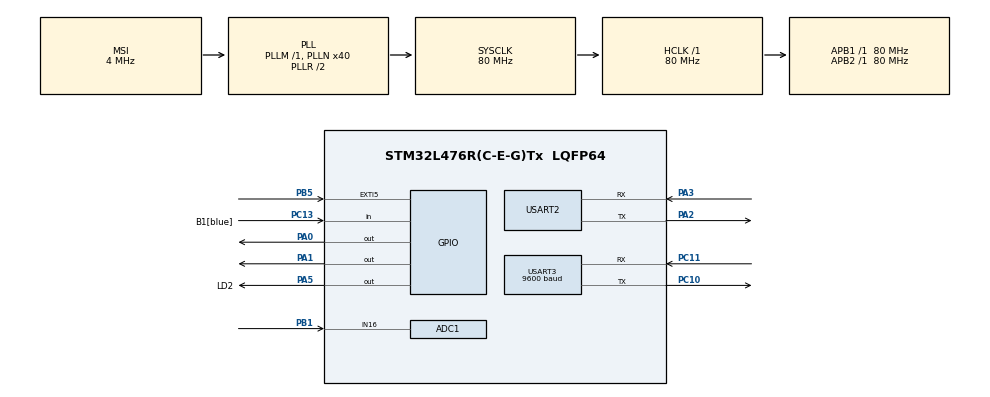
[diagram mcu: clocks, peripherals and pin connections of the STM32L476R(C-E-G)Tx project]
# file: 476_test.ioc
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ADC1.Channel-0\#ChannelRegularConversion=ADC_CHANNEL_16
ADC1.ContinuousConvMode=DISABLE
ADC1.DiscontinuousConvMode=DISABLE
ADC1.NbrOfConversion=1
ADC1.NbrOfConversionFlag=1
ADC1.OffsetNumber-0\#ChannelRegularConversion=ADC_OFFSET_NONE
ADC1.Rank-0\#ChannelRegularConversion=1
ADC1.SamplingTime-0\#ChannelRegularConversion=ADC_SAMPLETIME_47CYCLES_5
ADC1.master=1
Mcu.Family=STM32L4
Mcu.Name=STM32L476R(C-E-G)Tx
Mcu.Package=LQFP64
NVIC.PriorityGroup=NVIC_PRIORITYGROUP_2
NVIC.USART2_IRQn=true\:0\:0\:false\:false\:true\:true\:true
NVIC.USART3_IRQn=true\:0\:0\:false\:false\:true\:true\:true
PA0.Signal=GPIO_Output
PA1.Signal=GPIO_Output
PA13\ (JTMS-SWDIO).Mode=Serial_Wire
PA13\ (JTMS-SWDIO).Signal=SYS_JTMS-SWDIO
PA14\ (JTCK-SWCLK).Mode=Serial_Wire
PA14\ (JTCK-SWCLK).Signal=SYS_JTCK-SWCLK
PA2.Mode=Asynchronous
PA2.Signal=USART2_TX
PA3.Mode=Asynchronous
PA3.Signal=USART2_RX
PA5.GPIO_Label=LD2
PA5.Signal=GPIO_Output
PB1.Signal=ADCx_IN16
PB5.GPIO_PuPd=GPIO_PULLUP
PB5.Signal=GPXTI5
PC10.Mode=Asynchronous
PC10.Signal=USART3_TX
PC11.Mode=Asynchronous
PC11.Signal=USART3_RX
PC13.GPIO_Label=B1[blue]
PC13.GPIO_PuPd=GPIO_PULLUP
PC13.Signal=GPIO_Input
PC14-OSC32_IN\ (PC14).Mode=LSE-External-Oscillator
PC14-OSC32_IN\ (PC14).Signal=RCC_OSC32_IN
PC15-OSC32_OUT\ (PC15).Mode=LSE-External-Oscillator
PC15-OSC32_OUT\ (PC15).Signal=RCC_OSC32_OUT
ProjectManager.HeapSize=0x200
ProjectManager.StackSize=0x400
ProjectManager.TargetToolchain=MDK-ARM V5.32
RCC.ADCFreq_Value=32000000
RCC.AHBFreq_Value=80000000
RCC.APB1Freq_Value=80000000
RCC.APB1TimFreq_Value=80000000
RCC.APB2Freq_Value=80000000
RCC.APB2TimFreq_Value=80000000
RCC.CortexFreq_Value=80000000
RCC.HCLKFreq_Value=80000000
RCC.HSE_VALUE=8000000
RCC.HSI_VALUE=16000000
RCC.MSI_VALUE=4000000
RCC.PLLN=40
RCC.PLLSAI1N=16
RCC.SYSCLKFreq_VALUE=80000000
RCC.SYSCLKSource=RCC_SYSCLKSOURCE_PLLCLK
RCC.USBFreq_Value=32000000
RCC.VCOOutputFreq_Value=160000000
SH.ADCx_IN16.0=ADC1_IN16,IN16-Single-Ended
USART2.VirtualMode-Asynchronous=VM_ASYNC
USART3.BaudRate=9600
USART3.VirtualMode-Asynchronous=VM_ASYNC
board=custom

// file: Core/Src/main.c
/* USER CODE BEGIN Header */
/**
  ******************************************************************************
  * @file           : main.c
  * @brief          : Main program body
  ******************************************************************************
  * @attention
  *
  * <h2><center>&copy; Copyright (c) 2024 STMicroelectronics.
  * All rights reserved.</center></h2>
  *
  * This software component is licensed by ST under BSD 3-Clause license,
  * the "License"; You may not use this file except in compliance with the
  * License. You may obtain a copy of the License at:
  *                        opensource.org/licenses/BSD-3-Clause
  *
  ******************************************************************************
  */
/* USER CODE END Header */
#include "main.h"
#include "adc.h"
#include "usart.h"
#include "gpio.h"

/* USER CODE BEGIN PV */
const char stringMode1[8]="mode1#";//串口接收后对比指令
const char stringMode2[8]="mode2#";//串口接收后对比指令
const char stringStop[8]="stop#";//串口接收后对比指令
int8_t ledMode = -1;//模式值
//串口2接收
#define Uart2RxBuffSIZE  256     //最大接收字节数
char Uart2RxBuffer[Uart2RxBuffSIZE]= {0};   //接收数据数组
uint8_t aUart2RxBuff;			//接收中断缓冲
uint8_t Uart2RxCnt = 0;//接收数据计数
//串口3接收
#define Uart3RxBuffSIZE  256     //最大接收字节数
char Uart3RxBuffer[Uart3RxBuffSIZE]= {0};   //接收数据数组
uint8_t aUart3RxBuff;			//接收中断缓冲
uint8_t Uart3RxCnt = 0;//接收数据计数

uint8_t adc_mq4;
/* USER CODE END PV */

void SystemClock_Config(void);

int main(void)
{

  /* MCU Configuration--------------------------------------------------------*/

  /* Reset of all peripherals, Initializes the Flash interface and the Systick. */
  HAL_Init();

  /* Configure the system clock */
  SystemClock_Config();

  /* Initialize all configured peripherals */
  MX_GPIO_Init();
  MX_ADC1_Init();
  MX_USART2_UART_Init();
  MX_USART3_UART_Init();
  /* USER CODE BEGIN 2 */
  uint8_t TxData[20]= "hello world!";//初始化
  char stringAuto[20]="Auto\r\n";//串口接收后对比指令
  char stringHand[20]="Hand\r\n";//串口接收后对比指令
  char stringRead[20]="Read\r\n";//串口接收后对比指令
	HAL_ADCEx_Calibration_Start(&hadc1,ADC_SINGLE_ENDED);

  /***比较printf与HAL_UART_Transmit用法，结果均相同***/
  printf("Hello STM32L476RG!\r\n");
  HAL_UART_Transmit(&huart2,TxData,sizeof(TxData),100);
  HAL_UART_Transmit(&huart2,(uint8_t *)"\r\n",2,100);
	//HAL_UART_Transmit(&huart3,(uint8_t *)stringHand,sizeof(stringHand),100);
  HAL_UART_Receive_IT(&huart2, (uint8_t *)&aUart2RxBuff, 1);   //开启接收中断
  HAL_UART_Receive_IT(&huart3, (uint8_t *)&aUart3RxBuff, 1);   //开启接收中断
  /* USER CODE END 2 */

  /* Infinite loop */
  while (1)
  {

    /* USER CODE BEGIN 3 */
			if(!HAL_GPIO_ReadPin(B1_GPIO_Port,B1_Pin))
			{
				 HAL_Delay(20);
				 if(!HAL_GPIO_ReadPin(B1_GPIO_Port,B1_Pin)){
						 while(!HAL_GPIO_ReadPin(B1_GPIO_Port,B1_Pin));
						 HAL_GPIO_TogglePin(LD2_GPIO_Port,LD2_Pin);
						 HAL_GPIO_TogglePin(GPIOA,GPIO_PIN_0);
						 HAL_UART_Transmit(&huart3,(uint8_t *)stringRead,sizeof(stringRead),100);
						 adc_mq4 = ADC_IN_1();
						 printf("CH4:%d",adc_mq4);
				 }
			}
  }
  /* USER CODE END 3 */
}

void SystemClock_Config(void)
{
  RCC_OscInitTypeDef RCC_OscInitStruct = {0};
  RCC_ClkInitTypeDef RCC_ClkInitStruct = {0};

  /** Configure the main internal regulator output voltage
  */
  if (HAL_PWREx_ControlVoltageScaling(PWR_REGULATOR_VOLTAGE_SCALE1) != HAL_OK)
  {
    Error_Handler();
  }
  /** Configure LSE Drive Capability
  */
  HAL_PWR_EnableBkUpAccess();
  __HAL_RCC_LSEDRIVE_CONFIG(RCC_LSEDRIVE_LOW);
  /** Initializes the RCC Oscillators according to the specified parameters
  * in the RCC_OscInitTypeDef structure.
  */
  RCC_OscInitStruct.OscillatorType = RCC_OSCILLATORTYPE_LSE|RCC_OSCILLATORTYPE_MSI;
  RCC_OscInitStruct.LSEState = RCC_LSE_ON;
  RCC_OscInitStruct.MSIState = RCC_MSI_ON;
  RCC_OscInitStruct.MSICalibrationValue = 0;
  RCC_OscInitStruct.MSIClockRange = RCC_MSIRANGE_6;
  RCC_OscInitStruct.PLL.PLLState = RCC_PLL_ON;
  RCC_OscInitStruct.PLL.PLLSource = RCC_PLLSOURCE_MSI;
  RCC_OscInitStruct.PLL.PLLM = 1;
  RCC_OscInitStruct.PLL.PLLN = 40;
  RCC_OscInitStruct.PLL.PLLP = RCC_PLLP_DIV7;
  RCC_OscInitStruct.PLL.PLLQ = RCC_PLLQ_DIV2;
  RCC_OscInitStruct.PLL.PLLR = RCC_PLLR_DIV2;
  if (HAL_RCC_OscConfig(&RCC_OscInitStruct) != HAL_OK)
  {
    Error_Handler();
  }
  /** Initializes the CPU, AHB and APB buses clocks
  */
  RCC_ClkInitStruct.ClockType = RCC_CLOCKTYPE_HCLK|RCC_CLOCKTYPE_SYSCLK
                              |RCC_CLOCKTYPE_PCLK1|RCC_CLOCKTYPE_PCLK2;
  RCC_ClkInitStruct.SYSCLKSource = RCC_SYSCLKSOURCE_PLLCLK;
  RCC_ClkInitStruct.AHBCLKDivider = RCC_SYSCLK_DIV1;
  RCC_ClkInitStruct.APB1CLKDivider = RCC_HCLK_DIV1;
  RCC_ClkInitStruct.APB2CLKDivider = RCC_HCLK_DIV1;

  if (HAL_RCC_ClockConfig(&RCC_ClkInitStruct, FLASH_LATENCY_4) != HAL_OK)
  {
    Error_Handler();
  }
  /** Enable MSI Auto calibration
  */
  HAL_RCCEx_EnableMSIPLLMode();
}

/* USER CODE BEGIN 4 */
void HAL_UART_RxCpltCallback(UART_HandleTypeDef *huart){
	UNUSED(huart);
  if(huart == &huart2){
    if(Uart2RxCnt >= 255){
		 Uart2RxCnt = 0;
		 memset(Uart2RxBuffer,0x00,sizeof(Uart2RxBuffer));
		 HAL_UART_Transmit(&huart2, (uint8_t *)"数据溢出", 10,0xFFFF);
	  }	else{
		 Uart2RxBuffer[Uart2RxCnt++] = aUart2RxBuff;   //接收数据转存
		 if((Uart2RxBuffer[Uart2RxCnt-1] == 0x0A)
      &&(Uart2RxBuffer[Uart2RxCnt-2] == 0x0D)
      &&(Uart2RxBuffer[Uart2RxCnt-3] == '#')) //判断结束位
		  {
			 if(strstr((const char *)Uart2RxBuffer,stringMode1)!=NULL){
				 printf("I'm in mode_1!\r\n");
				 ledMode = 1;
				 HAL_GPIO_WritePin(LD2_GPIO_Port,LD2_Pin,GPIO_PIN_SET);
			  }
			  else if(strstr((const char *)Uart2RxBuffer,stringMode2)!=NULL)	{
				 printf("I'm in mode_2!\r\n");
				 ledMode = 2;
				 HAL_GPIO_WritePin(LD2_GPIO_Port,LD2_Pin,GPIO_PIN_RESET);
			  }
			  else if(strstr((const char *)Uart2RxBuffer,stringStop)!=NULL)	{
				 printf("I'm stop!\r\n");
				 ledMode = 0;
			  }
			  HAL_UART_Transmit(&huart2, (uint8_t *)&Uart2RxBuffer, Uart2RxCnt,0xFFFF); //将收到的信息发送出去
			  printf("hello\r\n");
			  while(HAL_UART_GetState(&huart2) == HAL_UART_STATE_BUSY_TX);//检测UART发送结束
			  Uart2RxCnt = 0;
			  memset(Uart2RxBuffer,0x00,sizeof(Uart2RxBuffer)); //清空数组
		  }
	  }
    HAL_UART_Receive_IT(&huart2, (uint8_t *)&aUart2RxBuff, 1);   //再开启接收中断}
  }else if(huart == &huart3){
    if(Uart3RxCnt >= 255){
		 Uart3RxCnt = 0;
		 memset(Uart3RxBuffer,0x00,sizeof(Uart3RxBuffer));
		 HAL_UART_Transmit(&huart3, (uint8_t *)"数据溢出", 10,0xFFFF);
	  }	else{
		 Uart3RxBuffer[Uart3RxCnt++] = aUart3RxBuff;   //接收数据转存
		 if((Uart3RxBuffer[Uart3RxCnt-1] == 0x0A)
      &&(Uart3RxBuffer[Uart3RxCnt-2] == 0x0D)){
        HAL_UART_Transmit(&huart2, (uint8_t *)&Uart3RxBuffer, Uart3RxCnt,0xFFFF); //将收到的信息发送出去
			  while(HAL_UART_GetState(&huart2) == HAL_UART_STATE_BUSY_TX);//检测UART发送结束
			  Uart3RxCnt = 0;
			  memset(Uart3RxBuffer,0x00,sizeof(Uart3RxBuffer)); //清空数组
		  }
	  }
    HAL_UART_Receive_IT(&huart3, (uint8_t *)&aUart3RxBuff, 1);   //再开启接收中断}
      }
}
/* USER CODE END 4 */

void Error_Handler(void)
{
  __disable_irq();
  while (1)
  {
  }
}

/************************ (C) COPYRIGHT STMicroelectronics *****END OF FILE****/
